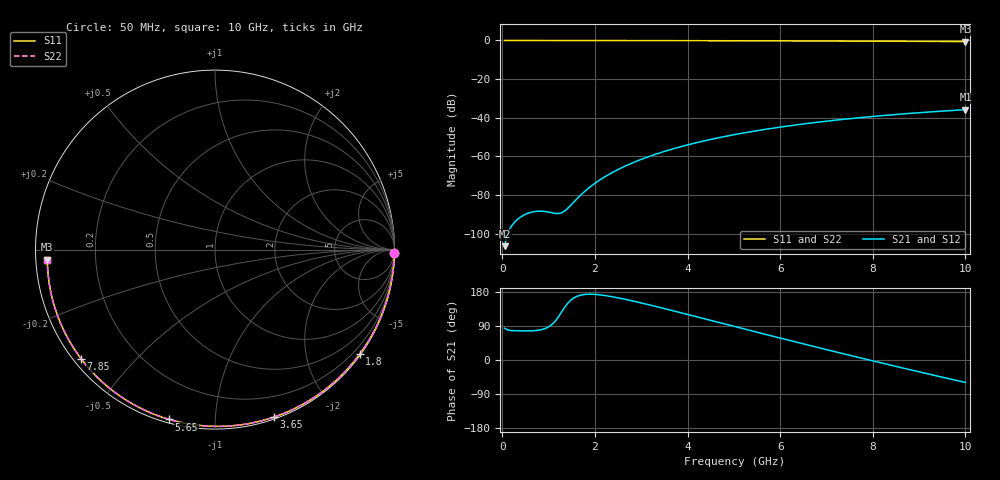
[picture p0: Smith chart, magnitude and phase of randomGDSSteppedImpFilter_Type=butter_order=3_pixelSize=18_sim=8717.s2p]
! freq	dB(S11)	phase(S11)	dB(S12)	phase(S12)
!  dB(S21)	phase(S21)	dB(S22)	phase(S22)
!S-par simulation data
#  GHz  S  DB  R 50
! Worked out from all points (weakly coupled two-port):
!   200 points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, 50 MHz to 10 GHz, reference 50 ohm
!   highest |S21| = -35.86 dB at 10 GHz (marker M1); lowest = -106.5 dB at 50 MHz (marker M2)
!   lowest |S11| = -0.6 dB at 10 GHz (marker M3), VSWR 30.16, Z = 1.66 - j1.49 ohm
!   |S11| at or under -10 dB: nowhere
!   |S22| runs from -0.6 to 0.0 dB; largest |S21 - S12| = 0
!   S11 on the Smith chart (normalised r, x): 50 MHz: open; 1.8 GHz: 0.03, -3.08; 3.65 GHz: 0.02, -1.41; 5.65 GHz: 0.02, -0.77; 7.85 GHz: 0.02, -0.36; 10 GHz: 0.03, -0.03
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0.05  -0.00 -1.0  -106.53 84.0  -106.53 84.0  -0.00 -1.0
0.8  -0.02 -16.2  -88.39 78.9  -88.39 78.9  -0.02 -16.2
1.2  -0.03 -24.1  -89.66 111.6  -89.66 111.6  -0.03 -24.1
1.65  -0.04 -33.0  -81.07 169.7  -81.07 169.7  -0.04 -33.0
1.7  -0.04 -34.0  -79.91 171.4  -79.91 171.4  -0.04 -34.0
1.75  -0.04 -35.0  -78.80 172.5  -78.80 172.5  -0.04 -34.9
1.8  -0.05 -35.9  -77.74 173.2  -77.74 173.2  -0.05 -35.9
2.1  -0.05 -41.7  -72.33 172.1  -72.33 172.1  -0.05 -41.7
2.45  -0.06 -48.4  -67.44 165.3  -67.44 165.3  -0.06 -48.4
2.9  -0.07 -56.9  -62.53 153.5  -62.53 153.5  -0.07 -56.9
3.4  -0.09 -66.1  -58.22 138.8  -58.22 138.8  -0.09 -66.1
3.65  -0.09 -70.6  -56.38 131.1  -56.38 131.1  -0.09 -70.6
4.35  -0.12 -83.1  -52.05 109.3  -52.05 109.3  -0.12 -83.0
5.05  -0.15 -95.1  -48.60 87.4  -48.60 87.4  -0.15 -95.0
5.65  -0.17 -105.1  -46.14 68.7  -46.14 68.7  -0.17 -105.1
6.15  -0.20 -113.3  -44.36 53.2  -44.36 53.2  -0.20 -113.3
6.7  -0.24 -122.3  -42.64 36.5  -42.64 36.5  -0.24 -122.2
7.3  -0.28 -131.9  -41.01 18.4  -41.01 18.4  -0.28 -131.8
7.85  -0.33 -140.8  -39.69 2.1  -39.69 2.1  -0.33 -140.7
8.35  -0.38 -148.8  -38.63 -12.6  -38.63 -12.6  -0.38 -148.8
9.2  -0.47 -162.8  -37.07 -36.9  -37.07 -36.9  -0.47 -162.8
10  -0.58 -176.6  -35.86 -59.2  -35.86 -59.2  -0.58 -176.5
